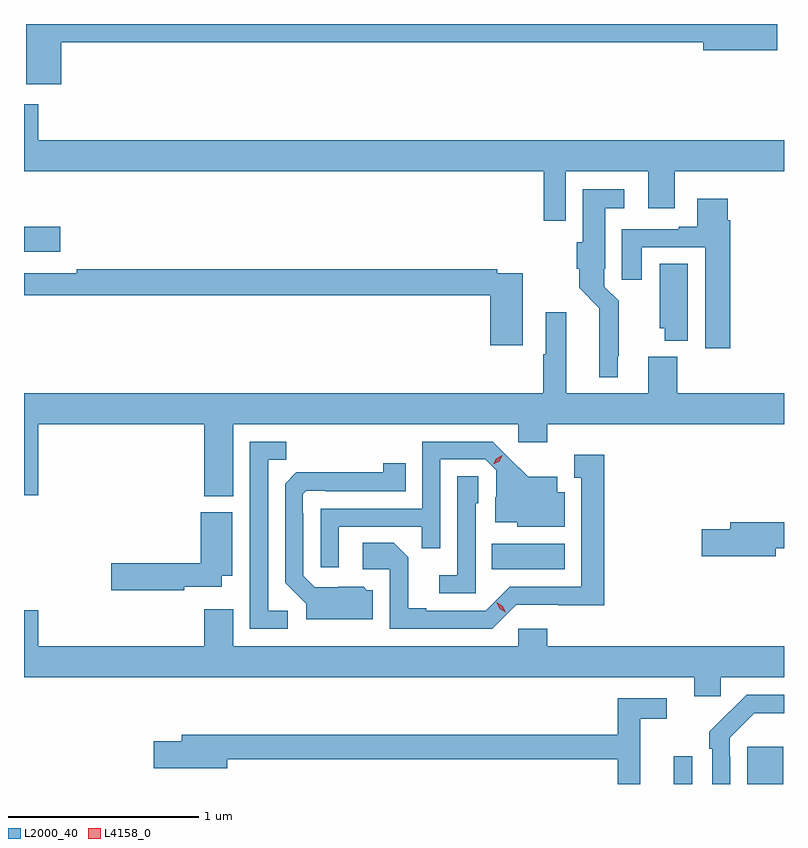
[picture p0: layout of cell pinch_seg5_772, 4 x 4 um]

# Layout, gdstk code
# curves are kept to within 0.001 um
import gdstk
lib = gdstk.Library(unit=1e-6, precision=1e-09)
def R(c, l, rs):  # rectangles x0, y0, x1, y1
    for r in rs: c.add(gdstk.rectangle(r[:2], r[2:], *l))
def P(c, l, *ps):  # polygons
    for p in ps: c.add(gdstk.Polygon(p, *l))
L2000_40 = (2000, 40)
L4158_0 = (4158, 0)

pinch_seg5_772 = lib.new_cell('pinch_seg5_772')
R(pinch_seg5_772, L2000_40, [(803.883,901.487,803.979,901.633), (804.269,901.487,804.457,901.684), (802.924,902.618,803.308,902.752), (800.462,904.289,800.653,904.419)])
P(pinch_seg5_772, L2000_40, [(800.657,905.392),(804.038,905.392),(804.038,905.35),(804.427,905.35),(804.427,905.487),(800.474,905.487),(800.474,905.169),(800.657,905.169)],
  [(803.313,904.712),(803.747,904.712),(803.747,904.518),(803.887,904.518),(803.887,904.712),(804.462,904.712),(804.462,904.876),(800.536,904.876),(800.536,905.065),(800.462,905.065),(800.462,904.712),(803.197,904.712),(803.197,904.452),(803.313,904.452)],
  [(803.587,903.739),(803.591,903.739),(803.591,904.03),(803.517,904.104),(803.517,904.198),(803.521,904.198),(803.521,904.517),(803.62,904.517),(803.62,904.618),(803.402,904.618),(803.402,904.338),(803.372,904.338),(803.372,904.198),(803.384,904.198),(803.384,904.098),(803.49,903.992),(803.489,903.629),(803.587,903.629)],
  [(804.179,904.454),(804.166,904.454),(804.166,904.567),(804.005,904.567),(804.005,904.42),(803.909,904.42),(803.909,904.407),(803.609,904.407),(803.609,904.14),(803.713,904.14),(803.713,904.311),(804.047,904.311),(804.047,903.78),(804.179,903.78)],
  [(803.956,904.226),(803.807,904.226),(803.807,903.885),(803.834,903.885),(803.834,903.821),(803.956,903.821)],
  [(803.086,904.176),(802.952,904.176),(802.952,904.196),(800.74,904.196),(800.74,904.176),(800.462,904.176),(800.462,904.06),(802.916,904.06),(802.916,903.795),(803.086,903.795)],
  [(801.562,903.38),(803.064,903.38),(803.064,903.285),(803.216,903.285),(803.216,903.38),(804.462,903.38),(804.462,903.544),(803.9,903.544),(803.9,903.736),(803.747,903.736),(803.747,903.544),(803.317,903.544),(803.317,903.97),(803.207,903.97),(803.207,903.749),(803.195,903.749),(803.195,903.544),(800.462,903.544),(800.462,903.006),(800.536,903.006),(800.536,903.38),(801.41,903.38),(801.41,903.002),(801.562,903.002)],
  [(801.85,902.4),(801.747,902.4),(801.747,903.193),(801.843,903.193),(801.843,903.288),(801.651,903.288),(801.651,902.304),(801.85,902.304)],
  [(802.119,902.841),(802.555,902.841),(802.555,902.728),(802.653,902.728),(802.653,903.195),(802.89,903.195),(802.947,903.138),(802.947,902.996),(802.943,902.996),(802.943,902.864),(803.058,902.864),(803.058,902.84),(803.308,902.84),(803.308,903.022),(803.269,903.022),(803.269,903.103),(803.117,903.103),(802.93,903.288),(802.557,903.288),(802.557,902.937),(802.023,902.937),(802.023,902.628),(802.119,902.628)],
  [(803.052,902.43),(803.515,902.429),(803.515,903.22),(803.357,903.22),(803.357,903.099),(803.396,903.099),(803.396,902.526),(803.019,902.526),(802.893,902.4),(802.579,902.4),(802.579,902.413),(802.485,902.413),(802.485,902.68),(802.409,902.756),(802.245,902.756),(802.245,902.616),(802.386,902.616),(802.386,902.304),(802.926,902.304)],
  [(802.297,902.508),(802.266,902.508),(802.25,902.524),(801.993,902.523),(801.933,902.583),(801.933,902.912),(801.93,902.912),(801.93,903.012),(801.948,903.03),(802.048,903.03),(802.048,903.027),(802.472,903.027),(802.472,903.175),(802.354,903.175),(802.354,903.128),(801.896,903.127),(801.837,903.068),(801.837,902.546),(801.947,902.436),(801.947,902.354),(802.297,902.354)],
  [(802.839,902.964),(802.854,902.964),(802.854,903.107),(802.743,903.107),(802.743,902.587),(802.647,902.587),(802.647,902.49),(802.839,902.49)],
  [(801.306,902.525),(801.502,902.525),(801.502,902.582),(801.559,902.582),(801.559,902.917),(801.392,902.917),(801.392,902.648),(800.922,902.648),(800.922,902.506),(801.306,902.506)],
  [(804.418,902.728),(804.462,902.728),(804.462,902.864),(804.179,902.864),(804.179,902.828),(804.03,902.828),(804.03,902.686),(804.418,902.686)],
  [(804.129,902.048),(804.462,902.048),(804.462,902.212),(803.216,902.212),(803.216,902.305),(803.064,902.305),(803.064,902.212),(801.562,902.212),(801.562,902.407),(801.41,902.407),(801.41,902.212),(800.536,902.212),(800.536,902.401),(800.462,902.401),(800.462,902.048),(803.99,902.048),(803.99,901.95),(804.129,901.95)],
  [(804.18,901.631),(804.177,901.631),(804.177,901.731),(804.306,901.86),(804.462,901.86),(804.462,901.956),(804.266,901.956),(804.069,901.761),(804.069,901.673),(804.084,901.673),(804.084,901.487),(804.18,901.487)],
  [(803.705,901.83),(803.845,901.83),(803.845,901.938),(803.587,901.938),(803.587,901.747),(801.293,901.747),(801.293,901.713),(801.144,901.713),(801.144,901.571),(801.532,901.571),(801.532,901.618),(803.587,901.618),(803.587,901.487),(803.705,901.487)])
P(pinch_seg5_772, L4158_0, [(802.932,903.17),(802.932,903.17),(802.948,903.2),(802.978,903.216),(802.979,903.216),(802.979,903.215),(802.962,903.186),(802.932,903.17)],
  [(802.998,902.391),(802.966,902.41),(802.949,902.442),(802.949,902.443),(802.949,902.443),(802.981,902.423),(802.998,902.391),(802.998,902.391)])

lib.write_gds('pinch_seg5_772.gds')
